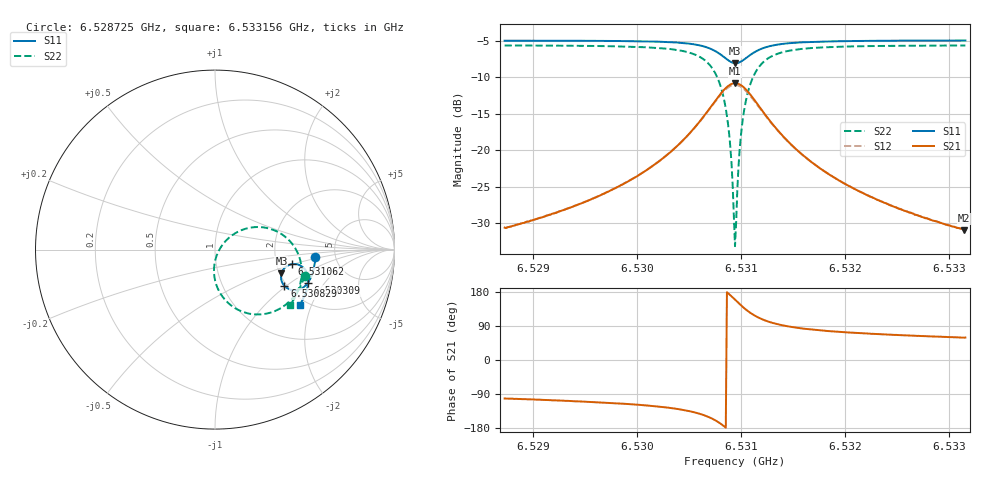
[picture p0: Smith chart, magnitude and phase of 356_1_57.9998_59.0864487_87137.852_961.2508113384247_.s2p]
#  HZ  S  RI  R  50.00
! Rohde & Schwarz Vector Network Analyzer
! Rohde-Schwarz,ZNB20-2Port,1311601062101988,3.16
! Created: UTC 3/21/2024, 1:06:12 AM
! freq[Hz]  re:S11  im:S11  re:S21  im:S21  re:S12  im:S12  re:S22  im:S22
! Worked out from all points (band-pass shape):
!   401 points, 6.528725 GHz to 6.533156 GHz, reference 50 ohm
!   highest |S21| = -10.84 dB at 6.53094 GHz (marker M1); lowest = -31.0 dB at 6.533145 GHz (marker M2)
!   |S21| within 3 dB of the highest: 6.53072 GHz to 6.531163 GHz (443.2 kHz wide, 0.00679 % of centre)
!   lowest |S11| = -8.1 dB at 6.53094 GHz (marker M3), VSWR 2.30, Z = 102 - j32 ohm
!   |S11| at or under -10 dB: nowhere
!   |S22| runs from -33.2 to -5.7 dB; largest |S21 - S12| = 0.011
!   S11 on the Smith chart (normalised r, x): 6.528725 GHz: 3.50, -0.43; 6.530309 GHz: 2.60, -1.39; 6.530829 GHz: 1.94, -0.97; 6.531062 GHz: 2.43, -0.49; 6.533156 GHz: 1.82, -1.65
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6.5287246e9  0.5599 -0.0424  -0.00589 -0.0288  -0.00644 -0.0285  0.5001 -0.1455
6.5294668e9  0.5509 -0.1032  -0.0145 -0.0407  -0.0154 -0.0406  0.4719 -0.2129
6.5302091e9  0.5243 -0.1746  -0.0456 -0.0701  -0.0475 -0.0691  0.3957 -0.306
6.5303088e9  0.5166 -0.1862  -0.0564 -0.0769  -0.0585 -0.0756  0.3729 -0.322
6.5306633e9  0.4543 -0.2258  -0.1518 -0.0952  -0.154 -0.0894  0.1913 -0.357
6.530763e9  0.4157 -0.2216  -0.2118 -0.0723  -0.2115 -0.0638  0.0887 -0.3101
6.5308295e9  0.3868 -0.2021  -0.2546 -0.0286  -0.2507 -0.0195  0.0218 -0.23
6.5308849e9  0.37 -0.1713  -0.2764 0.0312  -0.2688 0.0386  -0.00553 -0.1269
6.5309181e9  0.3677 -0.1485  -0.2758 0.0736  -0.2667 0.079  0.00196 -0.0568
6.5309292e9  0.3685 -0.1406  -0.2729 0.0878  -0.2635 0.0924  0.00914 -0.0338
6.5309402e9  0.3703 -0.1327  -0.2684 0.1018  -0.2588 0.1055  0.0186 -0.0116
6.5309513e9  0.3731 -0.1253  -0.2627 0.1154  -0.253 0.1181  0.0304 0.00991
6.5309624e9  0.3765 -0.118  -0.2556 0.1281  -0.246 0.1301  0.044 0.0298
6.5309846e9  0.3853 -0.1054  -0.238 0.1511  -0.229 0.1514  0.0763 0.0645
6.5310067e9  0.3964 -0.0949  -0.2173 0.1695  -0.209 0.1685  0.1133 0.0916
6.5310621e9  0.4276 -0.0811  -0.1604 0.1946  -0.1549 0.1921  0.2117 0.1244
6.5311397e9  0.4661 -0.0844  -0.0929 0.193  -0.0899 0.1906  0.3256 0.1095
6.5312504e9  0.4984 -0.1071  -0.0357 0.1637  -0.0342 0.1623  0.4187 0.0457
6.5316825e9  0.5199 -0.1829  0.0138 0.0809  0.0149 0.0805  0.483 -0.1305
6.5324247e9  0.4996 -0.2555  0.0165 0.0386  0.0171 0.0386  0.4552 -0.2458
6.5331448e9  0.4718 -0.3081  0.0146 0.0242  0.0151 0.0242  0.4202 -0.307
6.5331559e9  0.4714 -0.309  0.0145 0.0243  0.015 0.024  0.4198 -0.3077
